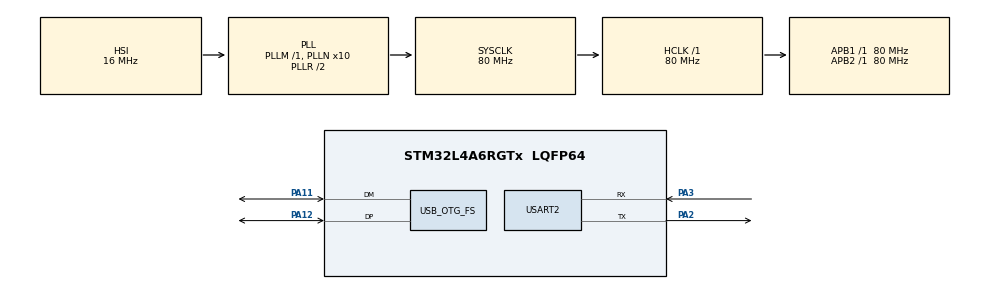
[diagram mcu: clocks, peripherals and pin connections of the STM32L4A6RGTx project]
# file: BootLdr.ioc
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Mcu.Family=STM32L4
Mcu.Name=STM32L4A6RGTx
Mcu.Package=LQFP64
NVIC.OTG_FS_IRQn=true\:0\:0\:false\:false\:true\:false
NVIC.PriorityGroup=NVIC_PRIORITYGROUP_4
PA11.Mode=Device_Only
PA11.Signal=USB_OTG_FS_DM
PA12.Mode=Device_Only
PA12.Signal=USB_OTG_FS_DP
PA13\ (JTMS/SWDIO).Mode=Trace_Asynchronous_SW
PA13\ (JTMS/SWDIO).Signal=SYS_JTMS-SWDIO
PA14\ (JTCK/SWCLK).Mode=Trace_Asynchronous_SW
PA14\ (JTCK/SWCLK).Signal=SYS_JTCK-SWCLK
PA2.Mode=Asynchronous
PA2.Signal=USART2_TX
PA3.Mode=Asynchronous
PA3.Signal=USART2_RX
PB3\ (JTDO/TRACESWO).Mode=Trace_Asynchronous_SW
PB3\ (JTDO/TRACESWO).Signal=SYS_JTDO-SWO
PC14-OSC32_IN\ (PC14).Mode=LSE-External-Oscillator
PC14-OSC32_IN\ (PC14).Signal=RCC_OSC32_IN
PC15-OSC32_OUT\ (PC15).Mode=LSE-External-Oscillator
PC15-OSC32_OUT\ (PC15).Signal=RCC_OSC32_OUT
ProjectManager.HeapSize=0x2000
ProjectManager.StackSize=0x2000
ProjectManager.TargetToolchain=TrueSTUDIO
RCC.ADCFreq_Value=64000000
RCC.AHBFreq_Value=80000000
RCC.APB1Freq_Value=80000000
RCC.APB1TimFreq_Value=80000000
RCC.APB2Freq_Value=80000000
RCC.APB2TimFreq_Value=80000000
RCC.CK48CLockSelection=RCC_USBCLKSOURCE_MSI
RCC.CortexFreq_Value=80000000
RCC.HCLKFreq_Value=80000000
RCC.HSE_VALUE=8000000
RCC.HSI48_VALUE=48000000
RCC.HSI_VALUE=16000000
RCC.MSIClockRange=RCC_MSIRANGE_11
RCC.MSI_VALUE=48000000
RCC.PLLN=10
RCC.PLLSourceVirtual=RCC_PLLSOURCE_HSI
RCC.RTCClockSelection=RCC_RTCCLKSOURCE_LSE
RCC.SYSCLKFreq_VALUE=80000000
RCC.SYSCLKSource=RCC_SYSCLKSOURCE_PLLCLK
RCC.USBFreq_Value=48000000
RCC.VCOOutputFreq_Value=160000000
RTC.Format=RTC_FORMAT_BIN
RTC.WeekDay=RTC_WEEKDAY_SATURDAY
USART2.VirtualMode-Asynchronous=VM_ASYNC
USB_DEVICE.CLASS_NAME_FS=DFU
USB_DEVICE.VirtualMode=Dfu
USB_DEVICE.VirtualModeFS=Dfu_FS
USB_OTG_FS.VirtualMode=Device_Only
VP_RNG_VS_RNG.Mode=RNG_Activate
VP_RTC_VS_RTC_Activate.Mode=RTC_Enabled
VP_RTC_VS_RTC_Calendar.Mode=RTC_Calendar
VP_USB_DEVICE_VS_USB_DEVICE_DFU_FS.Mode=DFU_FS
board=custom

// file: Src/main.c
/**
  ******************************************************************************
  * @file           : main.c
  * @brief          : Main program body
  ******************************************************************************
  * This notice applies to any and all portions of this file
  * that are not between comment pairs USER CODE BEGIN and
  * USER CODE END. Other portions of this file, whether
  * inserted by the user or by software development tools
  * are owned by their respective copyright owners.
  *
  * Copyright (c) 2018 STMicroelectronics International N.V.
  * All rights reserved.
  *
  * Redistribution and use in source and binary forms, with or without
  * modification, are permitted, provided that the following conditions are met:
  *
  * 1. Redistribution of source code must retain the above copyright notice,
  *    this list of conditions and the following disclaimer.
  * 2. Redistributions in binary form must reproduce the above copyright notice,
  *    this list of conditions and the following disclaimer in the documentation
  *    and/or other materials provided with the distribution.
  * 3. Neither the name of STMicroelectronics nor the names of other
  *    contributors to this software may be used to endorse or promote products
  *    derived from this software without specific written permission.
  * 4. This software, including modifications and/or derivative works of this
  *    software, must execute solely and exclusively on microcontroller or
  *    microprocessor devices manufactured by or for STMicroelectronics.
  * 5. Redistribution and use of this software other than as permitted under
  *    this license is void and will automatically terminate your rights under
  *    this license.
  *
  * THIS SOFTWARE IS PROVIDED BY STMICROELECTRONICS AND CONTRIBUTORS "AS IS"
  * AND ANY EXPRESS, IMPLIED OR STATUTORY WARRANTIES, INCLUDING, BUT NOT
  * LIMITED TO, THE IMPLIED WARRANTIES OF MERCHANTABILITY, FITNESS FOR A
  * PARTICULAR PURPOSE AND NON-INFRINGEMENT OF THIRD PARTY INTELLECTUAL PROPERTY
  * RIGHTS ARE DISCLAIMED TO THE FULLEST EXTENT PERMITTED BY LAW. IN NO EVENT
  * SHALL STMICROELECTRONICS OR CONTRIBUTORS BE LIABLE FOR ANY DIRECT, INDIRECT,
  * INCIDENTAL, SPECIAL, EXEMPLARY, OR CONSEQUENTIAL DAMAGES (INCLUDING, BUT NOT
  * LIMITED TO, PROCUREMENT OF SUBSTITUTE GOODS OR SERVICES; LOSS OF USE, DATA,
  * OR PROFITS; OR BUSINESS INTERRUPTION) HOWEVER CAUSED AND ON ANY THEORY OF
  * LIABILITY, WHETHER IN CONTRACT, STRICT LIABILITY, OR TORT (INCLUDING
  * NEGLIGENCE OR OTHERWISE) ARISING IN ANY WAY OUT OF THE USE OF THIS SOFTWARE,
  * EVEN IF ADVISED OF THE POSSIBILITY OF SUCH DAMAGE.
  *
  ******************************************************************************
  */
#include "main.h"
#include "stm32l4xx_hal.h"
#include "usb_device.h"

/* USER CODE BEGIN Includes */
#include <stdint.h>
#include <stdbool.h>
#include "StmUtil.h"
#include "usbd_dfu_if.h"
#include <cyrep/RiotTarget.h>
#include <cyrep/RiotStatus.h>
#include <cyrep/RiotSha256.h>
#include <cyrep/RiotEcc.h>
#include <cyrep/RiotDerEnc.h>
#include <cyrep/RiotX509Bldr.h>
#include <cyrep/RiotCrypt.h>
#include <BarnacleTA.h>
#include <Barnacle.h>

/* USER CODE END Includes */

RNG_HandleTypeDef hrng;

RTC_HandleTypeDef hrtc;

UART_HandleTypeDef huart2;

/* USER CODE BEGIN PV */
/* Private variables ---------------------------------------------------------*/
volatile unsigned char DFU_UsrStrDescr_requested = 0;
/* USER CODE END PV */

void SystemClock_Config(void);
static void MX_GPIO_Init(void);
static void MX_RNG_Init(void);
static void MX_RTC_Init(void);
static void MX_USART2_UART_Init(void);

/* USER CODE BEGIN PFP */
/* Private function prototypes -----------------------------------------------*/

/* USER CODE END PFP */

int ldr_main(void)
{

  /* MCU Configuration----------------------------------------------------------*/

  /* Reset of all peripherals, Initializes the Flash interface and the Systick. */
  HAL_Init();

  /* Configure the system clock */
  SystemClock_Config();

  /* USER CODE BEGIN SysInit */
  USBD_DFU_fops_FS.pStrDesc = (uint8_t*)BarnacleGetDfuStr();

  /* USER CODE END SysInit */

  /* Initialize all configured peripherals */
  MX_GPIO_Init();
  MX_RNG_Init();
  MX_RTC_Init();
  MX_USART2_UART_Init();
  MX_USB_DEVICE_Init();
  /* USER CODE BEGIN 2 */
#ifdef SWVDEBUG
  InitializeITM(true);
#else
  InitializeITM(false);
#endif
  fprintf(stderr, "\r\n\r\n"
                  "================\r\n"
                  "Barnacle BootLdr\r\n"
                  "================\r\n");
  printf("Barnacle on STM32L476RG\r\n");

  // If we got here because of a firewall violation tell the world
  if(BarnacleFWViolation())
  {
      logWarning("Firewall violation detected.\r\n");
  }

  if(!BarnacleWriteLockLoader())
  {
      logError("Write protection for BootLdr failed.\r\n");
      Error_Handler();
  }

  // Provision the device if this is the first launch
  if(!BarnacleInitialProvision())
  {
      logError("Device Provisioning failed.\r\n");
      Error_Handler();
  }

  // Briefly wait to see if DFU connects before we continue
  HAL_Delay(500);
  if((AgentHdr.s.sign.hdr.magic != BARNACLEMAGIC) || (DFU_UsrStrDescr_requested))
  {
      logInfo("DFU mode...\r\n");
      for(;;);
  }
  else
  {
      logInfo("DFU closed.\r\n");
      MX_USB_DEVICE_DeInit();
  }

  // Now that the door is firmly closed let's take a look at the agent
  if(!BarnacleVerifyAgent())
  {
      // We didn't like that agent for some reason. We will wipe the Agent space
      logInfo("Wiping agent header.\r\n");
      BarnacleErasePages((void*)&AgentHdr, sizeof(AgentHdr));

      // Reboot so we can go straight to DFU mode next time
      logInfo("Rebooting device...\r\n");
      NVIC_SystemReset();
      Error_Handler();
  }

  // Close all the hatches
  if(!BarnacleSecureFWData())
  {
      logError("The firewall did not engage.\r\n");
      Error_Handler();
  }

  // The point of no return: Launch the agent
#ifndef NDEBUG
  logInfo("Launching agent...\r\n");
  HAL_Delay(1);
#endif
  // Release the clock source
  HAL_RCC_DeInit();
  // Release the HAL
  HAL_DeInit();
  // Redirect the vector table to the agent vector table
  SCB->VTOR = ((uint32_t)AgentCode);
//  SCB->VTOR = ((uint32_t)AGENTCODE);
  // Wipe all accessible RAM to make sure we didn't leave anything behind
//  memset((void*)RAMWIPESTART1, 0x00, RAMWIPESIZE1);
//  memset((void*)RAMWIPESTART2, 0x00, RAMWIPESIZE2);
  // Set the stack pointer to where the agent expects it
  __set_MSP(*((uint32_t*)AgentCode));
//  __set_MSP(*((uint32_t*)AGENTCODE));
  // Jump into the abyss
  ((void (*)(void)) *((uint32_t*)(((uint32_t)AgentCode) + sizeof(uint32_t))))();
//  ((void (*)(void)) *((uint32_t*)(((uint32_t)AGENTCODE) + sizeof(uint32_t))))();
  // We will never return from this call!!

  /* USER CODE END 2 */

  /* Infinite loop */
  while (1)
  {

  /* USER CODE BEGIN 3 */
    logError("How the hell did we get here?!?\r\n");
    HAL_Delay(1000);

  }
  /* USER CODE END 3 */

}

void SystemClock_Config(void)
{

  RCC_OscInitTypeDef RCC_OscInitStruct;
  RCC_ClkInitTypeDef RCC_ClkInitStruct;
  RCC_PeriphCLKInitTypeDef PeriphClkInit;

    /**Configure LSE Drive Capability
    */
  HAL_PWR_EnableBkUpAccess();

  __HAL_RCC_LSEDRIVE_CONFIG(RCC_LSEDRIVE_LOW);

    /**Initializes the CPU, AHB and APB busses clocks
    */
  RCC_OscInitStruct.OscillatorType = RCC_OSCILLATORTYPE_HSI|RCC_OSCILLATORTYPE_LSE
                              |RCC_OSCILLATORTYPE_MSI;
  RCC_OscInitStruct.LSEState = RCC_LSE_ON;
  RCC_OscInitStruct.HSIState = RCC_HSI_ON;
  RCC_OscInitStruct.HSICalibrationValue = 64;
  RCC_OscInitStruct.MSIState = RCC_MSI_ON;
  RCC_OscInitStruct.MSICalibrationValue = 0;
  RCC_OscInitStruct.MSIClockRange = RCC_MSIRANGE_11;
  RCC_OscInitStruct.PLL.PLLState = RCC_PLL_ON;
  RCC_OscInitStruct.PLL.PLLSource = RCC_PLLSOURCE_HSI;
  RCC_OscInitStruct.PLL.PLLM = 1;
  RCC_OscInitStruct.PLL.PLLN = 10;
  RCC_OscInitStruct.PLL.PLLP = RCC_PLLP_DIV2;
  RCC_OscInitStruct.PLL.PLLQ = RCC_PLLQ_DIV2;
  RCC_OscInitStruct.PLL.PLLR = RCC_PLLR_DIV2;
  if (HAL_RCC_OscConfig(&RCC_OscInitStruct) != HAL_OK)
  {
    _Error_Handler(__FILE__, __LINE__);
  }

    /**Initializes the CPU, AHB and APB busses clocks
    */
  RCC_ClkInitStruct.ClockType = RCC_CLOCKTYPE_HCLK|RCC_CLOCKTYPE_SYSCLK
                              |RCC_CLOCKTYPE_PCLK1|RCC_CLOCKTYPE_PCLK2;
  RCC_ClkInitStruct.SYSCLKSource = RCC_SYSCLKSOURCE_PLLCLK;
  RCC_ClkInitStruct.AHBCLKDivider = RCC_SYSCLK_DIV1;
  RCC_ClkInitStruct.APB1CLKDivider = RCC_HCLK_DIV1;
  RCC_ClkInitStruct.APB2CLKDivider = RCC_HCLK_DIV1;

  if (HAL_RCC_ClockConfig(&RCC_ClkInitStruct, FLASH_LATENCY_4) != HAL_OK)
  {
    _Error_Handler(__FILE__, __LINE__);
  }

  PeriphClkInit.PeriphClockSelection = RCC_PERIPHCLK_RTC|RCC_PERIPHCLK_USART2
                              |RCC_PERIPHCLK_USB|RCC_PERIPHCLK_RNG;
  PeriphClkInit.Usart2ClockSelection = RCC_USART2CLKSOURCE_PCLK1;
  PeriphClkInit.RTCClockSelection = RCC_RTCCLKSOURCE_LSE;
  PeriphClkInit.UsbClockSelection = RCC_USBCLKSOURCE_MSI;
  PeriphClkInit.RngClockSelection = RCC_RNGCLKSOURCE_MSI;
  if (HAL_RCCEx_PeriphCLKConfig(&PeriphClkInit) != HAL_OK)
  {
    _Error_Handler(__FILE__, __LINE__);
  }

    /**Configure the main internal regulator output voltage
    */
  if (HAL_PWREx_ControlVoltageScaling(PWR_REGULATOR_VOLTAGE_SCALE1) != HAL_OK)
  {
    _Error_Handler(__FILE__, __LINE__);
  }

    /**Configure the Systick interrupt time
    */
  HAL_SYSTICK_Config(HAL_RCC_GetHCLKFreq()/1000);

    /**Configure the Systick
    */
  HAL_SYSTICK_CLKSourceConfig(SYSTICK_CLKSOURCE_HCLK);

    /**Enable MSI Auto calibration
    */
  HAL_RCCEx_EnableMSIPLLMode();

  /* SysTick_IRQn interrupt configuration */
  HAL_NVIC_SetPriority(SysTick_IRQn, 0, 0);
}

/* RNG init function */
static void MX_RNG_Init(void)
{

  hrng.Instance = RNG;
  if (HAL_RNG_Init(&hrng) != HAL_OK)
  {
    _Error_Handler(__FILE__, __LINE__);
  }

}

/* RTC init function */
static void MX_RTC_Init(void)
{

  RTC_TimeTypeDef sTime;
  RTC_DateTypeDef sDate;

    /**Initialize RTC Only
    */
  hrtc.Instance = RTC;
  hrtc.Init.HourFormat = RTC_HOURFORMAT_24;
  hrtc.Init.AsynchPrediv = 127;
  hrtc.Init.SynchPrediv = 255;
  hrtc.Init.OutPut = RTC_OUTPUT_DISABLE;
  hrtc.Init.OutPutRemap = RTC_OUTPUT_REMAP_NONE;
  hrtc.Init.OutPutPolarity = RTC_OUTPUT_POLARITY_HIGH;
  hrtc.Init.OutPutType = RTC_OUTPUT_TYPE_OPENDRAIN;
  if (HAL_RTC_Init(&hrtc) != HAL_OK)
  {
    _Error_Handler(__FILE__, __LINE__);
  }

    /**Initialize RTC and set the Time and Date
    */
  sTime.Hours = 0;
  sTime.Minutes = 0;
  sTime.Seconds = 0;
  sTime.DayLightSaving = RTC_DAYLIGHTSAVING_NONE;
  sTime.StoreOperation = RTC_STOREOPERATION_RESET;
  if (HAL_RTC_SetTime(&hrtc, &sTime, RTC_FORMAT_BIN) != HAL_OK)
  {
    _Error_Handler(__FILE__, __LINE__);
  }

  sDate.WeekDay = RTC_WEEKDAY_SATURDAY;
  sDate.Month = RTC_MONTH_JANUARY;
  sDate.Date = 1;
  sDate.Year = 0;

  if (HAL_RTC_SetDate(&hrtc, &sDate, RTC_FORMAT_BIN) != HAL_OK)
  {
    _Error_Handler(__FILE__, __LINE__);
  }

}

/* USART2 init function */
static void MX_USART2_UART_Init(void)
{

  huart2.Instance = USART2;
  huart2.Init.BaudRate = 115200;
  huart2.Init.WordLength = UART_WORDLENGTH_8B;
  huart2.Init.StopBits = UART_STOPBITS_1;
  huart2.Init.Parity = UART_PARITY_NONE;
  huart2.Init.Mode = UART_MODE_TX_RX;
  huart2.Init.HwFlowCtl = UART_HWCONTROL_NONE;
  huart2.Init.OverSampling = UART_OVERSAMPLING_16;
  huart2.Init.OneBitSampling = UART_ONE_BIT_SAMPLE_DISABLE;
  huart2.AdvancedInit.AdvFeatureInit = UART_ADVFEATURE_NO_INIT;
  if (HAL_UART_Init(&huart2) != HAL_OK)
  {
    _Error_Handler(__FILE__, __LINE__);
  }

}

/** Configure pins as
        * Analog
        * Input
        * Output
        * EVENT_OUT
        * EXTI
*/
static void MX_GPIO_Init(void)
{

  /* GPIO Ports Clock Enable */
  __HAL_RCC_GPIOC_CLK_ENABLE();
  __HAL_RCC_GPIOA_CLK_ENABLE();
  __HAL_RCC_GPIOB_CLK_ENABLE();

}

void _Error_Handler(char *file, int line)
{
  /* USER CODE BEGIN Error_Handler_Debug */
  dbgPrint("PANIC: EXECUTION HALTED %s@%d\r\n", file, line);
  /* User can add his own implementation to report the HAL error return state */
  while(1)
  {
  }
  /* USER CODE END Error_Handler_Debug */
}

/************************ (C) COPYRIGHT STMicroelectronics *****END OF FILE****/
